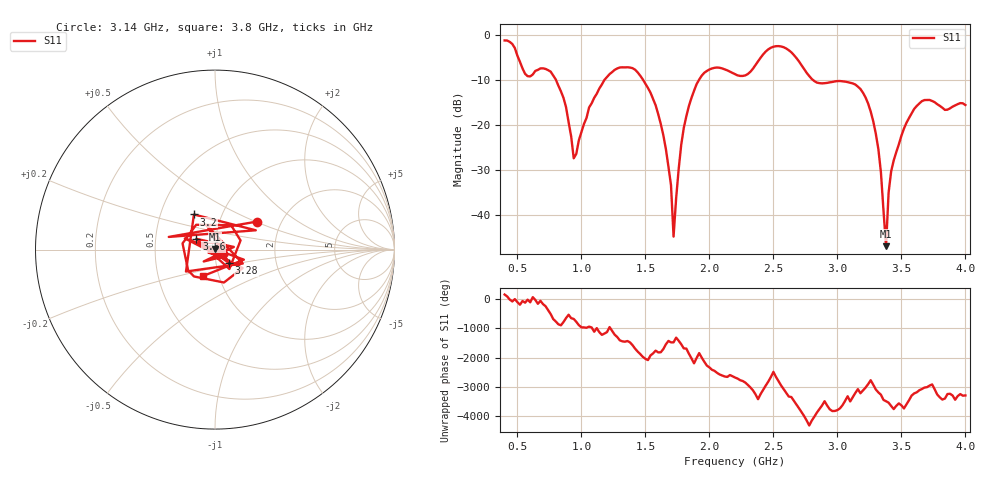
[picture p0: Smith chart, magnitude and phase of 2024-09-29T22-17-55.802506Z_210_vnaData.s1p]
!Created with skrf (http://scikit-rf.org).
# Hz S RI R 50.0
!freq ReS11 ImS11
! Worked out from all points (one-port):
!   181 points, 400 MHz to 4 GHz, reference 50 ohm
!   lowest |S11| = -46.9 dB at 3.38 GHz (marker M1), VSWR 1.01, Z = 49.8 + j0.413 ohm
!   |S11| at or under -10 dB: 801.7 MHz to 1.179 GHz (377.7 MHz wide, 38.1 % of centre); 1.483 GHz to 1.918 GHz (435.5 MHz wide, 25.6 % of centre); 2.81 GHz to end of sweep
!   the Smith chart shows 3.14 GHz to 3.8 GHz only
!   S11 on the Smith chart (normalised r, x): 3.14 GHz: 1.51, +0.51; 3.2 GHz: 0.74, +0.30; 3.28 GHz: 1.16, -0.18; 3.56 GHz: 0.81, +0.10; 3.8 GHz: 0.84, -0.25
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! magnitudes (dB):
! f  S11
! 400 MHz  -1.2
! 760 MHz  -8.1
! 860 MHz  -14.0
! 940 MHz  -27.4
! 1.06 GHz  -16.1
! 1.3 GHz  -7.2
! 1.44 GHz  -8.3
! 1.58 GHz  -15.6
! 1.7 GHz  -33.4
! 1.72 GHz  -44.8
! 1.76 GHz  -29.8
! 1.82 GHz  -18.0
! 1.92 GHz  -9.9
! 2.2 GHz  -8.7
! 2.5 GHz  -2.6
! 2.66 GHz  -4.4
! 2.84 GHz  -10.6
! 3.1 GHz  -10.6
! 3.14 GHz  -11.0
! 3.2 GHz  -12.8
! 3.28 GHz  -19.2
! 3.34 GHz  -30.5
! 3.38 GHz  -46.9
! 3.4 GHz  -35.0
! 3.42 GHz  -30.3
! 3.56 GHz  -18.4
! 3.8 GHz  -15.7
! 4 GHz  -15.6
